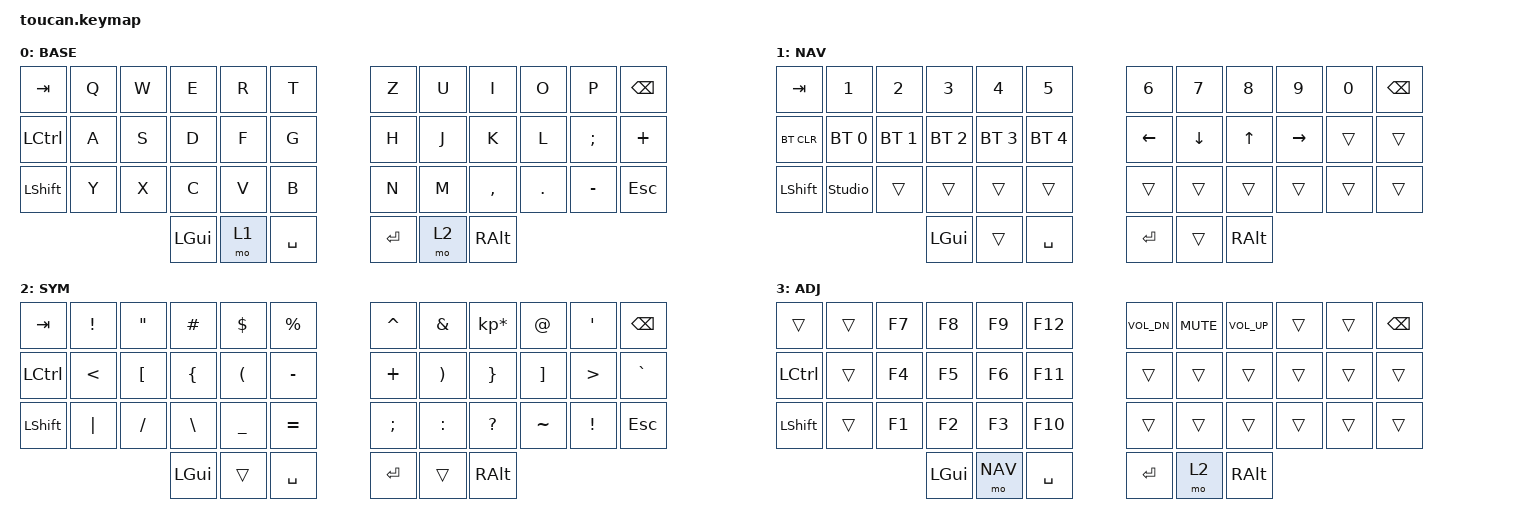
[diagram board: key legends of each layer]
#include <behaviors.dtsi>
#include <dt-bindings/zmk/bt.h>
#include <dt-bindings/zmk/keys.h>

#define BASE 0
#define NAV  1
#define SYM  2
#define ADJ  3

/ {
    conditional_layers {
        compatible = "zmk,conditional-layers";

        tri_layer {
            if-layers = <1 2>;
            then-layer = <3>;
        };
    };

    keymap {
        compatible = "zmk,keymap";

        base {
            display-name = "BASE";
            bindings = <
&kp TAB  &kp Q  &kp W  &kp E  &kp R  &kp T  &kp Z  &kp U  &kp I  &kp O  &kp P  &kp BSPC
&kp LCTRL  &kp A  &kp S  &kp D  &kp F  &kp G  &kp H  &kp J  &kp K  &kp L  &kp SEMI  &kp PLUS
&kp LSHFT  &kp Y  &kp X  &kp C  &kp V  &kp B  &kp N  &kp M  &kp COMMA  &kp DOT  &kp MINUS  &kp ESC
&kp LGUI  &mo 1  &kp SPACE  &kp RET  &mo 2  &kp RALT
            >;
        };

        nav {
            display-name = "NAV";
            bindings = <
&kp TAB  &kp N1  &kp N2  &kp N3  &kp N4  &kp N5  &kp N6  &kp N7  &kp N8  &kp N9  &kp N0  &kp BSPC
&bt BT_CLR  &bt BT_SEL 0  &bt BT_SEL 1  &bt BT_SEL 2  &bt BT_SEL 3  &bt BT_SEL 4  &kp LEFT  &kp DOWN  &kp UP  &kp RIGHT  &trans  &trans
&kp LSHFT  &studio_unlock  &trans  &trans  &trans  &trans  &trans  &trans  &trans  &trans  &trans  &trans
&kp LGUI  &trans  &kp SPACE  &kp RET  &trans  &kp RALT
            >;
        };

        sym {
            display-name = "SYM";
            bindings = <
&kp TAB  &kp EXCL  &kp DQT  &kp HASH  &kp DLLR  &kp PRCNT   &kp CARET  &kp AMPS  &kp KP_MULTIPLY  &kp AT  &kp SQT  &kp BSPC
&kp LCTRL  &kp LT  &kp LBKT  &kp LBRC  &kp LPAR  &kp MINUS   &kp PLUS  &kp RPAR  &kp RBRC  &kp RBKT  &kp GT  &kp GRAVE
&kp LSHFT  &kp PIPE  &kp FSLH  &kp BSLH  &kp UNDER  &kp EQUAL   &kp SEMI  &kp COLON  &kp QMARK  &kp TILDE  &kp EXCL  &kp ESC
&kp LGUI  &trans  &kp SPACE  &kp RET  &trans  &kp RALT
            >;
        };

        adj {
            display-name = "ADJ";
            bindings = <
&trans  &trans  &kp F7  &kp F8  &kp F9  &kp F12  &kp C_VOL_DN  &kp C_MUTE  &kp C_VOL_UP  &trans  &trans  &kp BSPC
&kp LCTRL  &trans  &kp F4  &kp F5  &kp F6  &kp F11  &trans  &trans  &trans  &trans  &trans  &trans
&kp LSHFT  &trans  &kp F1  &kp F2  &kp F3  &kp F10  &trans  &trans  &trans  &trans  &trans  &trans
&kp LGUI  &mo NAV  &kp SPACE  &kp RET  &mo 2  &kp RALT
            >;
        };

        extra_1 { status = "reserved"; };
        extra_2 { status = "reserved"; };
        extra_3 { status = "reserved"; };
    };
};
